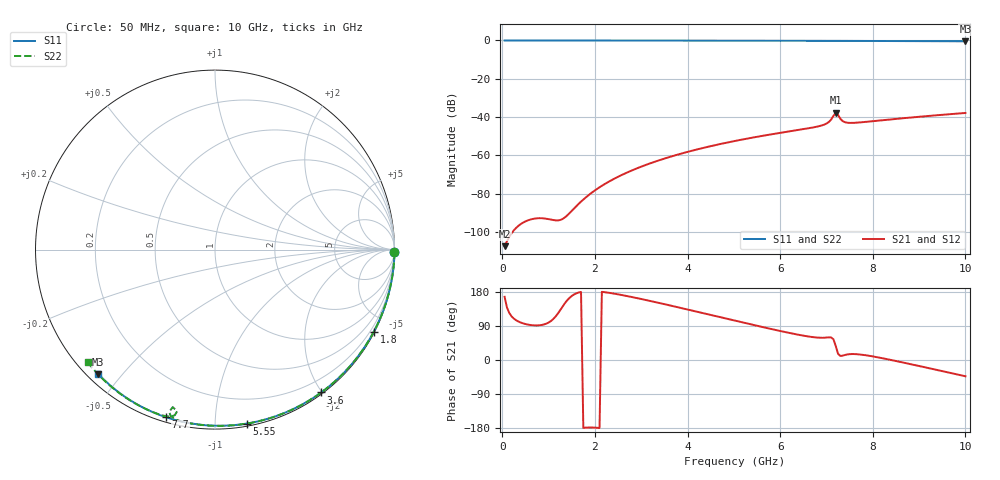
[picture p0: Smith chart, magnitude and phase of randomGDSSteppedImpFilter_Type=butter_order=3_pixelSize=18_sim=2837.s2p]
! freq	dB(S11)	phase(S11)	dB(S12)	phase(S12)
!  dB(S21)	phase(S21)	dB(S22)	phase(S22)
!S-par simulation data
#  GHz  S  DB  R 50
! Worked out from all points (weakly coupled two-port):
!   200 points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, 50 MHz to 10 GHz, reference 50 ohm
!   highest |S21| = -37.73 dB at 7.2 GHz (marker M1); lowest = -107.5 dB at 50 MHz (marker M2)
!   lowest |S11| = -0.4 dB at 10 GHz (marker M3), VSWR 39.10, Z = 1.52 - j21.6 ohm
!   |S11| at or under -10 dB: nowhere
!   |S22| runs from -0.8 to 0.0 dB; largest |S21 - S12| = 0
!   S11 on the Smith chart (normalised r, x): 50 MHz: open; 1.8 GHz: 0.04, -4.12; 3.6 GHz: 0.02, -1.99; 5.55 GHz: 0.02, -1.20; 7.7 GHz: 0.02, -0.75; 10 GHz: 0.03, -0.43
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0.05  -0.00 -0.8  -107.51 166.8  -107.51 166.8  -0.00 -0.8
0.9  -0.02 -13.8  -93.00 93.8  -93.00 93.8  -0.02 -14.3
1.75  -0.03 -26.5  -83.13 -179.2  -83.13 -179.2  -0.04 -27.7
1.8  -0.03 -27.3  -82.08 -178.5  -82.08 -178.5  -0.04 -28.4
1.9  -0.04 -28.8  -80.14 -178.0  -80.14 -178.0  -0.04 -30.0
2.25  -0.04 -33.9  -74.48 178.3  -74.48 178.3  -0.05 -35.4
2.65  -0.05 -39.8  -69.50 169.8  -69.50 169.8  -0.05 -41.4
3.4  -0.07 -50.5  -62.51 150.2  -62.51 150.2  -0.07 -52.6
3.6  -0.07 -53.3  -60.99 144.6  -60.99 144.6  -0.07 -55.5
4.3  -0.09 -63.0  -56.39 124.7  -56.39 124.7  -0.09 -65.6
5.05  -0.11 -73.1  -52.40 103.1  -52.40 103.1  -0.12 -76.1
5.55  -0.13 -79.6  -50.14 88.9  -50.14 88.9  -0.14 -82.9
6.7  -0.18 -94.2  -45.52 60.5  -45.52 60.5  -0.20 -98.4
7  -0.20 -97.9  -43.44 59.2  -43.44 59.2  -0.25 -102.9
7.1  -0.21 -99.1  -41.39 59.6  -41.39 59.6  -0.36 -104.8
7.2  -0.21 -100.3  -37.73 37.2  -37.73 37.2  -0.83 -105.0
7.25  -0.21 -100.9  -38.90 16.4  -38.90 16.4  -0.68 -103.2
7.3  -0.21 -101.5  -40.94 10.6  -40.94 10.6  -0.45 -103.7
7.4  -0.22 -102.8  -42.73 13.3  -42.73 13.3  -0.31 -105.5
7.7  -0.24 -106.4  -42.88 14.8  -42.88 14.8  -0.27 -110.0
8.35  -0.29 -114.1  -41.35 1.2  -41.35 1.2  -0.31 -118.3
10  -0.44 -133.2  -37.89 -42.9  -37.89 -42.9  -0.47 -138.4
